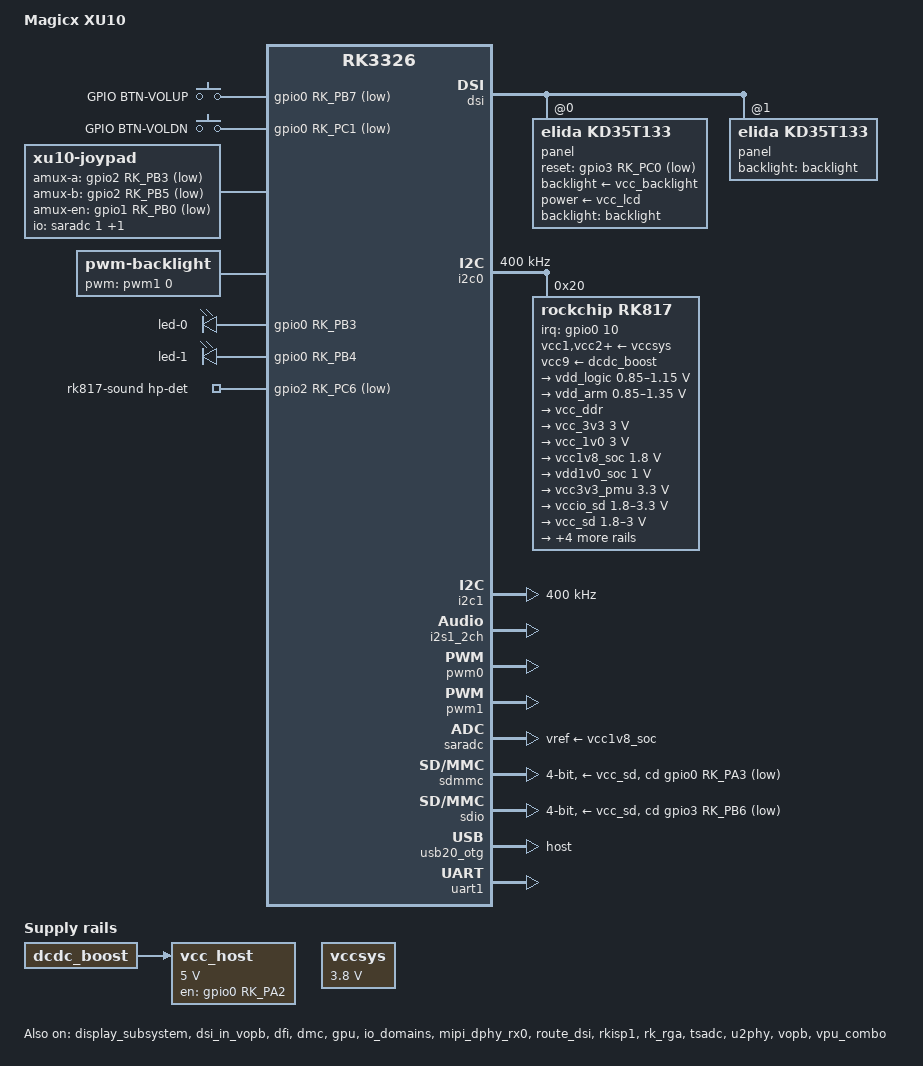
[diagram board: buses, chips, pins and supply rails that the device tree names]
// SPDX-License-Identifier: (GPL-2.0+ OR MIT)
/*
 * Copyright (c) 2021 Anbernic
 *
 * PowKiddy Magicx XU10
 *
 */

/dts-v1/;
#include <dt-bindings/display/drm_mipi_dsi.h>
#include <dt-bindings/gpio/gpio.h>
#include <dt-bindings/input/input.h>
#include <dt-bindings/pinctrl/rockchip.h>
#include <dt-bindings/sensor-dev.h>
#include "rk3326.dtsi"
#include "rk3326-linux.dtsi"

/ {
	model = "Magicx XU10";
	compatible = "rockchip,rk3326-xu10-linux", "rockchip,rk3326";

	chosen {
                bootargs = "";
	};

	vol_keys: rg351-keys {
		compatible = "gpio-keys";
		#address-cells = <1>;
		#size-cells = <0>;
		autorepeat;
		button@0 {
			label = "GPIO BTN-VOLUP";
			linux,code = <KEY_VOLUMEUP>;
			gpios = <&gpio0 RK_PB7 GPIO_ACTIVE_LOW>;
		};
		button@1 {
			label = "GPIO BTN-VOLDN";
			linux,code = <KEY_VOLUMEDOWN>;
			gpios = <&gpio0 RK_PC1 GPIO_ACTIVE_LOW>;
		};
	};

	joypad: odroidgo3-joypad {
                compatible = "xu10-joypad";

                joypad-name = "GO-Super Gamepad";
                joypad-product = <0x1100>;
                joypad-revision = <0x0100>;

		status = "okay";
                /*
                  - odroidgo3-joypad sysfs list -
		   * for poll device interval(ms)
		   /sys/devices/platform/odroidgo3_joypad/poll_interval [rw]
		   ex) echo 20 > poll_interval
                   * for button-adc-fuzz
		   /sys/devices/platform/odroidgo3_joypad/adc_fuzz [r]
                   * for button-adc-flat
		   /sys/devices/platform/odroidgo3_joypad/adc_flat [r]

		   * for report control(1:enable, 0:disable)
		   /sys/devices/platform/odroidgo3_joypad/enable [rw]
		   * for adc calibration value setup(current adcs value -> cal value)
		   /sys/devices/platform/odroidgo3_joypad/adc_cal [rw]
		   ex) echo 0 > adc_cal

		   * for rumble period(ns)
		   /sys/devices/platform/odroidgo3_joypad/rumble_period
		   ex) echo 20000000 > rumble_duty_cycle
		   ex) cat rumble_duty_cycle -->get current duty cycle

		   * for rumble boost(0~65535)
		   /sys/devices/platform/odroidgo3_joypad/rumble_boost_weak
		   /sys/devices/platform/odroidgo3_joypad/rumble_boost_strong

		   * for amux data debug
		   * Joypad driver is disabled when using this sysfs.
		   /sys/devices/platform/odroidgo3_joypad/amux_debug [rw]
		   ex) echo 0 > amux_debug --> select amux channel
		   ex) cat amux_debug --> get adc data of seleted channel
                */

		/* gpio pincontrol setup */
                pinctrl-names = "default";
                pinctrl-0 = <&btn_pins>;

		/* Analog mux define */
		io-channel-names = "joy_left", "joy_right";
		io-channels = <&saradc 1>, <&saradc 2>;

		/* adc mux channel count */
		amux-count = <4>;
		/* adc mux select(a,b) gpio */
		amux-a-gpios = <&gpio2 RK_PB3 GPIO_ACTIVE_LOW>;
		amux-b-gpios = <&gpio2 RK_PB5 GPIO_ACTIVE_LOW>;
		/* adc mux enable gpio */
		amux-en-gpios = <&gpio1 RK_PB0 GPIO_ACTIVE_LOW>;

		/* adc calculate scale */
		button-adc-scale = <2>;

		/* adc deadzone range  */
		button-adc-deadzone = <100>;

		/*
		  specifies fuzz value that is used to filter noise from
		  the event stream.
		*/
		button-adc-fuzz = <32>;
		button-adc-flat = <32>;

		/*
		  Analog Stick data tuning value(precent)
		  p = positive direction, n = negative direction
		  report value = (real_adc_data * tuning_value) / 100
		*/
		abs_x-p-tuning = <200>;
		abs_x-n-tuning = <200>;

		abs_y-p-tuning = <200>;
		abs_y-n-tuning = <200>;

		abs_rx-p-tuning = <200>;
		abs_rx-n-tuning = <200>;

		abs_ry-p-tuning = <200>;
		abs_ry-n-tuning = <200>;

		/* poll device interval (ms), adc read interval */
		poll-interval = <10>;

		/* required for RG351MP */
		invert-absx;
		invert-absy;

		/* gpio button auto repeat set value : default disable */
		/*
			autorepeat;
		*/

		/*
		      *** ODROIDGO3-Advance Switch layoout ***
		|------------------------------------------------|
		| sw15  sw21        sw10   sw9        sw20  sw16 |
		|------------------------------------------------|
		|      sw19                            sw22      |
		|              |-------------------|             |
		|     sw1      |                   |      sw8    |
		|  sw3   sw4   |                   |   sw7   sw5 |
		|     sw2      |    LCD Display    |      sw6    |
		|              |                   |             |
		|              |                   |             |
		|              |-------------------|             |
		|  sw11 sw12        | sd-slot |       sw13 sw14  |
		|-------------------|         |------------------|
		*/
                /*
                    joypad driver is poll-device driver.
                    poll-device is does not support wakeup-source.
		*/
                sw1 {
                        gpios = <&gpio1 RK_PB4 GPIO_ACTIVE_LOW>;
                        label = "GPIO DPAD-UP";
                        linux,code = <BTN_DPAD_UP>; // 0x220
                };
                sw2 {
                        gpios = <&gpio1 RK_PB5 GPIO_ACTIVE_LOW>;
                        label = "GPIO DPAD-DOWN";
                        linux,code = <BTN_DPAD_DOWN>; // 0x221
                };
                sw3 {
                        gpios = <&gpio1 RK_PB6 GPIO_ACTIVE_LOW>;
                        label = "GPIO DPAD-LEFT";
                        linux,code = <BTN_DPAD_LEFT>; // 0x222
                };
                sw4 {
                        gpios = <&gpio1 RK_PB7 GPIO_ACTIVE_LOW>;
                        label = "GPIO DPAD-RIGHT";
                        linux,code = <BTN_DPAD_RIGHT>; // 0x223
                };
                sw5 {
                        gpios = <&gpio2 RK_PA1 GPIO_ACTIVE_LOW>;
                        label = "GPIO KEY BTN-A";
                        linux,code = <BTN_EAST>; // 0x131
                };
                sw6 {
                        gpios = <&gpio2 RK_PA3 GPIO_ACTIVE_LOW>;
                        label = "GPIO BTN-B";
                        linux,code = <BTN_SOUTH>; // 0x130
                };
                sw7 {
                        gpios = <&gpio2 RK_PA2 GPIO_ACTIVE_LOW>;
                        label = "GPIO BTN-Y";
                        linux,code = <BTN_WEST>; // 0x134
                };
                sw8 {
                        gpios = <&gpio2 RK_PA0 GPIO_ACTIVE_LOW>;
                        label = "GPIO BTN-X";
                        linux,code = <BTN_NORTH>; // 0x133
                };
                sw11 {
                        gpios = <&gpio2 RK_PB1 GPIO_ACTIVE_LOW>;
                        label = "BTN_THUMBR";
                        linux,code = <BTN_TRIGGER_HAPPY3>; // 0x2c2
                };
                sw12 {
                        gpios = <&gpio2 RK_PB2 GPIO_ACTIVE_LOW>;
                        label = "BTN_THUMBL";
                        linux,code = <BTN_TRIGGER_HAPPY4>; // 0x2c3
                };
                sw13 {
                        gpios = <&gpio2 RK_PA4 GPIO_ACTIVE_LOW>;
                        label = "PIO BTN_F";
                        linux,code = <BTN_TRIGGER_HAPPY5>; // 0x2c4
                };
                /*sw14 {
                        gpios = <&gpio2 RK_PA5 GPIO_ACTIVE_LOW>;
                        label = "GPIO F6";
                        linux,code = <BTN_TRIGGER_HAPPY6>; // 0x13c
                };*/
                sw15 {
                        gpios = <&gpio2 RK_PA6 GPIO_ACTIVE_LOW>;
                        label = "GPIO TOP-LEFT";
                        linux,code = <BTN_TL>; // 0x02
                };
                sw16 {
                        gpios = <&gpio2 RK_PA7 GPIO_ACTIVE_LOW>;
                        label = "GPIO TOP-RIGHT";
                        linux,code = <BTN_TR>; // 0x05
                };
                sw19 {
                        gpios = <&gpio2 RK_PB0 GPIO_ACTIVE_LOW>;
                        label = "BTN_SELECT";
                        linux,code = <BTN_TRIGGER_HAPPY1>;
                };
                sw20 {
                        gpios = <&gpio3 RK_PB4 GPIO_ACTIVE_LOW>;
                        label = "GPIO BTN_TR2";
                        linux,code = <BTN_TR2>;
                };
                sw21 {
                        gpios = <&gpio3 RK_PB2 GPIO_ACTIVE_LOW>;
                        label = "GPIO BTN_TL2";
                        linux,code = <BTN_TL2>;
                };
                sw22 {
                        gpios = <&gpio2 RK_PA5 GPIO_ACTIVE_LOW>;
                        label = "BTN_START";
                        linux,code = <BTN_TRIGGER_HAPPY2>;
                };
        };

	fiq-debugger {
		compatible = "rockchip,fiq-debugger";
		rockchip,serial-id = <2>;
		rockchip,wake-irq = <0>;
		/* If enable uart uses irq instead of fiq */
		rockchip,irq-mode-enable = <0>;
		rockchip,baudrate = <115200>;  /* Only 115200 and 1500000 */
		interrupts = <GIC_SPI 127 IRQ_TYPE_LEVEL_LOW>;
		pinctrl-names = "default";
		pinctrl-0 = <&uart2m1_xfer>;
		status = "okay";
	};

	backlight: backlight {
		compatible = "pwm-backlight";
		pwms = <&pwm1 0 62745 0>;
		brightness-levels = <
			  2   3   4   5   6   7
			  8   9  10  11  12  13  14  15
			 16  17  18  19  20  21  22  23
			 24  25  26  27  28  29  30  31
			 32  33  34  35  36  37  38  39
			 40  41  42  43  44  45  46  47
			 48  49  50  51  52  53  54  55
			 56  57  58  59  60  61  62  63
			 64  65  66  67  68  69  70  71
			 72  73  74  75  76  77  78  79
			 80  81  82  83  84  85  86  87
			 88  89  90  91  92  93  94  95
			 96  97  98  99 100 101 102 >;
		default-brightness-level = <51>; /* default 50% */
	};

	leds: gpio_leds {
		compatible = "gpio-leds";

		pinctrl-names = "led_pins";
		pinctrl-0 = <&led_pins>;

		led-0 {
			gpios = <&gpio0 RK_PB3 GPIO_ACTIVE_HIGH>;
			default-state = "off";
	        };

	        led-1 {
			gpios = <&gpio0 RK_PB4 GPIO_ACTIVE_HIGH>;
			default-state = "off";
	        };
	};

	rk817-sound {
		compatible = "simple-audio-card";
		simple-audio-card,format = "i2s";
		simple-audio-card,name = "rockchip,rk817-codec";
		simple-audio-card,mclk-fs = <256>;
		simple-audio-card,widgets =
			"Microphone", "Mic Jack",
			"Headphone", "Headphone Jack";
		simple-audio-card,routing =
			"MIC_IN", "Mic Jack",
			/*"IN1P", "Mic Jack",*/
			"Headphone Jack", "HPOL",
			"Headphone Jack", "HPOR";
		simple-audio-card,hp-det-gpio = <&gpio2 RK_PC6 GPIO_ACTIVE_LOW>;
		simple-audio-card,codec-hp-det = <1>;
		simple-audio-card,cpu {
			sound-dai = <&i2s1_2ch>;
		};
		simple-audio-card,codec {
			sound-dai = <&rk817_codec>;
		};
	};

	vccsys: vccsys {
		compatible = "regulator-fixed";
		regulator-name = "vcc3v8_sys";
		regulator-always-on;
		regulator-min-microvolt = <3800000>;
		regulator-max-microvolt = <3800000>;
	};

	vcc_host: vcc_host {
		compatible = "regulator-fixed";
		regulator-name = "vcc_host";
		regulator-min-microvolt = <5000000>;
		regulator-max-microvolt = <5000000>;

		gpio = <&gpio0 RK_PA2 GPIO_ACTIVE_HIGH>;
		enable-active-high;
		regulator-always-on;
		regulator-boot-on;
		vin-supply = <&dcdc_boost>;
	};
};

&bus_apll {
	bus-supply = <&vdd_logic>;
	status = "okay";
};

&cpu0 {
	cpu-supply = <&vdd_arm>;
};

&cpu0_opp_table {
	rockchip,avs = <1>;

	/* bin scaling clock 1.296MHz */
	rockchip,bin-scaling-sel = <
		0	10
		1	13
		2	16
		3	20
	>;

	/delete-node/ opp-408000000;
	/delete-node/ opp-600000000;
	/delete-node/ opp-696000000;
	/delete-node/ opp-1416000000;
	/delete-node/ opp-1512000000;

	opp-816000000 {
		opp-hz = /bits/ 64 <816000000>;
		opp-microvolt = <1050000 1050000 1350000>;
		opp-microvolt-L0 = <1050000 1050000 1350000>;
		opp-microvolt-L1 = <1000000 1000000 1350000>;
		opp-microvolt-L2 = <1000000 1000000 1350000>;
		opp-microvolt-L3 = <950000  950000  1350000>;
		clock-latency-ns = <40000>;
		opp-suspend;
	};

	opp-912000000 {
		opp-hz = /bits/ 64 <912000000>;
		opp-microvolt = <1125000 1125000 1350000>;
		opp-microvolt-L0 = <1125000 1125000 1350000>;
		opp-microvolt-L1 = <1075000 1075000 1350000>;
		opp-microvolt-L2 = <1075000 1075000 1350000>;
		opp-microvolt-L3 = <1000000 1000000 1350000>;
		clock-latency-ns = <40000>;
	};

	opp-1008000000 {
		opp-hz = /bits/ 64 <1008000000>;
		opp-microvolt = <1175000 1175000 1350000>;
		opp-microvolt-L0 = <1175000 1175000 1350000>;
		opp-microvolt-L1 = <1125000 1125000 1350000>;
		opp-microvolt-L2 = <1125000 1125000 1350000>;
		opp-microvolt-L3 = <1050000 1050000 1350000>;
		clock-latency-ns = <40000>;
	};

	opp-1200000000 {
		opp-hz = /bits/ 64 <1200000000>;
		opp-microvolt = <1300000 1300000 1350000>;
		opp-microvolt-L0 = <1300000 1300000 1350000>;
		opp-microvolt-L1 = <1275000 1275000 1350000>;
		opp-microvolt-L2 = <1250000 1250000 1350000>;
		opp-microvolt-L3 = <1200000 1200000 1350000>;
		clock-latency-ns = <40000>;
	};

	opp-1248000000 {
		opp-hz = /bits/ 64 <1248000000>;
		opp-microvolt = <1350000 1350000 1350000>;
		opp-microvolt-L0 = <1350000 1350000 1350000>;
		opp-microvolt-L1 = <1300000 1300000 1350000>;
		opp-microvolt-L2 = <1275000 1275000 1350000>;
		opp-microvolt-L3 = <1225000 1225000 1350000>;
		clock-latency-ns = <40000>;
	};

	opp-1296000000 {
		opp-hz = /bits/ 64 <1296000000>;
		opp-microvolt = <1350000 1350000 1350000>;
		opp-microvolt-L0 = <1350000 1350000 1350000>;
		opp-microvolt-L1 = <1350000 1350000 1350000>;
		opp-microvolt-L2 = <1300000 1300000 1350000>;
		opp-microvolt-L3 = <1250000 1250000 1350000>;
		clock-latency-ns = <40000>;
	};

	opp-1416000000 {
		opp-hz = /bits/ 64 <1416000000>;
		opp-microvolt     = <1350000 1350000 1350000>;
		opp-microvolt-L0  = <1350000 1350000 1350000>;
		opp-microvolt-L1  = <1350000 1350000 1350000>;
		opp-microvolt-L2  = <1325000 1325000 1350000>;
		opp-microvolt-L3  = <1300000 1300000 1350000>;
		opp-microvolt-L4  = <1250000 1250000 1350000>;
		clock-latency-ns = <40000>;
	};

	opp-1512000000 {
		opp-hz = /bits/ 64 <1512000000>;
		opp-microvolt     = <1350000 1350000 1350000>;
		opp-microvolt-L0  = <1350000 1350000 1350000>;
		opp-microvolt-L1  = <1350000 1350000 1350000>;
		opp-microvolt-L2  = <1350000 1350000 1350000>;
		opp-microvolt-L3  = <1325000 1325000 1350000>;
		opp-microvolt-L4  = <1300000 1300000 1350000>;
		clock-latency-ns = <40000>;
	};
};


&display_subsystem {
	status = "okay";
};

&dsi {
	status = "okay";

	panel@0 {
		compatible = "elida,kd35t133", "simple-panel-dsi";
		reg = <0>;
		id = [30 52];

		/* pwm1 backlight */
		backlight = <&backlight>;
		/* RK817 LDO7 */
		backlight-supply = <&vcc_backlight>;
		/* RK817 LDO8 */
		power-supply = <&vcc_lcd>;

		/* Rev 0.2 LCD reset gpio GPIO3.C0 */
		reset-gpios = <&gpio3 RK_PC0 GPIO_ACTIVE_LOW>;

			prepare-delay-ms = <0x14>;
			reset-delay-ms = <0x96>;
			init-delay-ms = <0x14>;
			enable-delay-ms = <0x78>;
			disable-delay-ms = <0x32>;
			unprepare-delay-ms = <0x14>;
			width-mm = <0x34>;
			height-mm = <0x46>;
			dsi,flags = <0xa03>;
			dsi,format = <0x00>;
			dsi,lanes = <0x04>;
			panel-init-sequence = [15 00 02 ff 30 15 00 02 ff 52 15 00 02 ff 01 15 00 02 e3 00 15 00 02 03 40 15 00 02 04 00 15 00 02 05 03 15 00 02 24 12 15 00 02 25 1e 15 00 02 26 28 15 00 02 27 52 15 00 02 28 57 15 00 02 29 01 15 00 02 2a df 15 00 02 38 9c 15 00 02 39 a7 15 00 02 3a 53 15 00 02 44 00 15 00 02 49 3c 15 00 02 59 fe 15 00 02 5c 00 15 00 02 91 77 15 00 02 92 77 15 00 02 a0 55 15 00 02 a1 50 15 00 02 a4 9c 15 00 02 a7 02 15 00 02 a8 01 15 00 02 a9 01 15 00 02 aa fc 15 00 02 ab 28 15 00 02 ac 06 15 00 02 ad 06 15 00 02 ae 06 15 00 02 af 03 15 00 02 b0 08 15 00 02 b1 26 15 00 02 b2 28 15 00 02 b3 28 15 00 02 b4 33 15 00 02 b5 08 15 00 02 b6 26 15 00 02 b7 08 15 00 02 b8 26 15 00 02 ff 30 15 00 02 ff 52 15 00 02 ff 02 15 00 02 b0 0b 15 00 02 b1 16 15 00 02 b2 17 15 00 02 b3 2c 15 00 02 b4 32 15 00 02 b5 3b 15 00 02 b6 29 15 00 02 b7 40 15 00 02 b8 0d 15 00 02 b9 05 15 00 02 ba 12 15 00 02 bb 10 15 00 02 bc 12 15 00 02 bd 15 15 00 02 be 19 15 00 02 bf 0e 15 00 02 c0 16 15 00 02 c1 0a 15 00 02 d0 0c 15 00 02 d1 17 15 00 02 d2 14 15 00 02 d3 2e 15 00 02 d4 32 15 00 02 d5 3c 15 00 02 d6 22 15 00 02 d7 3d 15 00 02 d8 0d 15 00 02 d9 07 15 00 02 da 13 15 00 02 db 13 15 00 02 dc 11 15 00 02 dd 15 15 00 02 de 19 15 00 02 df 10 15 00 02 e0 17 15 00 02 e1 0a 15 00 02 ff 30 15 00 02 ff 52 15 00 02 ff 03 15 00 02 00 2a 15 00 02 01 2a 15 00 02 02 2a 15 00 02 03 2a 15 00 02 04 61 15 00 02 05 80 15 00 02 06 c7 15 00 02 07 01 15 00 02 08 82 15 00 02 09 83 15 00 02 30 2a 15 00 02 31 2a 15 00 02 32 2a 15 00 02 33 2a 15 00 02 34 61 15 00 02 35 c5 15 00 02 36 80 15 00 02 37 23 15 00 02 40 82 15 00 02 41 83 15 00 02 42 80 15 00 02 43 81 15 00 02 44 11 15 00 02 45 e6 15 00 02 46 e5 15 00 02 47 11 15 00 02 48 e8 15 00 02 49 e7 15 00 02 50 02 15 00 02 51 01 15 00 02 52 04 15 00 02 53 03 15 00 02 54 11 15 00 02 55 ea 15 00 02 56 e9 15 00 02 57 11 15 00 02 58 ec 15 00 02 59 eb 15 00 02 7e 02 15 00 02 7f 80 15 00 02 e0 5a 15 00 02 b1 00 15 00 02 b4 0e 15 00 02 b5 0f 15 00 02 b6 04 15 00 02 b7 07 15 00 02 b8 06 15 00 02 b9 05 15 00 02 ba 0f 15 00 02 c7 00 15 00 02 ca 0e 15 00 02 cb 0f 15 00 02 cc 04 15 00 02 cd 07 15 00 02 ce 06 15 00 02 cf 05 15 00 02 d0 0f 15 00 02 81 0f 15 00 02 84 0e 15 00 02 85 0f 15 00 02 86 07 15 00 02 87 04 15 00 02 88 05 15 00 02 89 06 15 00 02 8a 00 15 00 02 97 0f 15 00 02 9a 0e 15 00 02 9b 0f 15 00 02 9c 07 15 00 02 9d 04 15 00 02 9e 05 15 00 02 9f 06 15 00 02 a0 00 15 00 02 ff 30 15 00 02 ff 52 15 00 02 ff 02 15 00 02 01 01 15 00 02 02 da 15 00 02 03 ba 15 00 02 04 a8 15 00 02 05 9a 15 00 02 06 70 15 00 02 07 ff 15 00 02 08 91 15 00 02 09 90 15 00 02 0a ff 15 00 02 0b 8f 15 00 02 0c 60 15 00 02 0d 58 15 00 02 0e 48 15 00 02 0f 38 15 00 02 10 2b 15 00 02 ff 30 15 00 02 ff 52 15 00 02 ff 00 15 00 02 36 02 15 00 02 3a 70 05 c8 01 11 05 0a 01 29];
			panel-exit-sequence = <0x5140128 0x50a0110>;
			panel-read-id-sequence = [05 00 02 00 00];
		display-timings {
			native-mode = <&timing0>;

			timing0: timing0 {
					clock-frequency = <0x192d500>;
					hactive = <0x280>;
					vactive = <0x1e0>;
					hfront-porch = <0x77>;
					hsync-len = <0x02>;
					hback-porch = <0x77>;
					vfront-porch = <0x0d>;
					vsync-len = <0x02>;
					vback-porch = <0x05>;
					hsync-active = <0x00>;
					vsync-active = <0x00>;
					de-active = <0x00>;
					pixelclk-active = <0x00>;
			};
		};
	};

	panel@1 {
		status = "okay";
		compatible = "elida,kd35t133", "simple-panel-dsi";
		/* don't register this panel */
		//reg = <0>;
		id = [38 21];
		backlight = <&backlight>;
		//power-supply = <&vcc_lcd>;
		//gpio = <&gpio0 RK_PC2 GPIO_ACTIVE_HIGH>;
		//reset-gpios = <&gpio0 RK_PA6 GPIO_ACTIVE_LOW>;
			prepare-delay-ms = <0x14>;
			reset-delay-ms = <0x96>;
			init-delay-ms = <0x14>;
			enable-delay-ms = <0x78>;
			disable-delay-ms = <0x32>;
			unprepare-delay-ms = <0x14>;
			dsi,flags = <0xa03>;
			dsi,format = <0x00>;
			dsi,lanes = <0x04>;
			panel-init-sequence = [39 00 04 b9 f1 12 83 39 00 06 b1 00 00 00 da 80 39 00 04 b2 00 13 70 39 00 0b b3 10 10 28 28 03 ff 00 00 00 00 15 00 02 b4 80 15 00 03 b5 0a 0a 15 00 03 b6 7f 7f 39 00 05 b8 26 62 f0 63 39 00 1c ba 33 81 05 f9 0e 0e 20 00 00 00 00 00 00 00 44 25 00 90 0a 00 00 01 4f 01 00 00 37 15 00 02 bc 47 39 00 04 bf 02 11 00 39 00 0a c0 73 73 50 50 00 00 12 50 00 39 00 0d c1 53 c0 32 32 77 e1 dd dd 77 77 33 33 39 00 07 c6 82 00 bf ff 00 ff 39 00 07 c7 b8 00 0a 00 00 00 39 00 05 c8 10 40 1e 02 15 00 02 cc 0b 39 00 23 e0 00 07 0d 37 35 3f 41 44 06 0c 0d 0f 11 10 12 14 1a 00 07 0d 37 35 3f 41 44 06 0c 0d 0f 11 10 12 14 1a 39 00 0f e3 07 07 0b 0b 0b 0b 00 00 00 00 ff 00 c0 10 39 00 40 e9 c8 10 02 00 00 b0 b1 11 31 23 28 80 b0 b1 27 08 00 04 02 00 00 00 00 04 02 00 00 00 88 88 ba 60 24 08 88 88 88 88 88 88 88 ba 71 35 18 88 88 88 88 88 00 00 00 01 00 00 00 00 00 00 00 00 00 39 00 3e ea 97 0a 82 02 03 07 00 00 00 00 00 00 81 88 ba 17 53 88 88 88 88 88 88 80 88 ba 06 42 88 88 88 88 88 88 23 00 00 02 80 00 00 00 00 00 00 00 00 00 00 00 00 00 00 00 00 00 00 00 00 00 00 39 00 04 ef ff ff 01 05 c8 01 11 05 32 01 29];
			panel-exit-sequence = <0x5140128 0x50a0110>;
			panel-read-id-sequence = [05 00 02 00 00];

		display-timings {
			native-mode = <&timing1>;
			timing1: timing1 {
					clock-frequency = <0x192d500>;
					hactive = <0x280>;
					vactive = <0x1e0>;
					hfront-porch = <0x77>;
					hsync-len = <0x02>;
					hback-porch = <0x77>;
					vfront-porch = <0x0d>;
					vsync-len = <0x02>;
					vback-porch = <0x05>;
					hsync-active = <0x00>;
					vsync-active = <0x00>;
					de-active = <0x00>;
					pixelclk-active = <0x00>;
			};
		};
	};
};

&dsi_in_vopb {
	status = "okay";
};

&dfi {
	status = "okay";
};

&dmc {
	center-supply = <&vdd_logic>;
	status = "okay";
};

&dmc_opp_table {
	/delete-node/ opp-194000000;
	/delete-node/ opp-328000000;
	/delete-node/ opp-450000000;

	opp-786000000 {
		opp-hz = /bits/ 64 <786000000>;
		opp-microvolt = <1150000>;
		opp-microvolt-L0 = <1150000>;
		opp-microvolt-L1 = <1100000>;
		opp-microvolt-L2 = <1075000>;
		opp-microvolt-L3 = <1050000>;
		status = "okay";
	};

	opp-850000000 {
		opp-hz = /bits/ 64 <850000000>;
		opp-microvolt = <1150000>;
		status = "okay";
	};
};

&emmc {
	status = "disabled";
};

&gpu {
	mali-supply = <&vdd_logic>;
	status = "okay";
};

&gpu_opp_table {
	/delete-node/ opp-200000000;
	/delete-node/ opp-300000000;
	/delete-node/ opp-520000000;

        opp-560000000 {
                 opp-hz = /bits/ 64 <560000000>;
                 opp-microvolt = <1175000>;
                 opp-microvolt-L0 = <1175000>;
                 opp-microvolt-L1 = <1175000>;
                 opp-microvolt-L2 = <1175000>;
                 opp-microvolt-L3 = <1150000>;
         };
};

&i2c0 {
	status = "okay";
	clock-frequency = <400000>;
	i2c-scl-rising-time-ns = <280>;
	i2c-scl-falling-time-ns = <16>;

	rk817: pmic@20 {
		compatible = "rockchip,rk817";
		reg = <0x20>;
		interrupt-parent = <&gpio0>;
		interrupts = <10 IRQ_TYPE_LEVEL_LOW>;
		pinctrl-names = "default", "pmic-sleep",
				"pmic-power-off", "pmic-reset";
		pinctrl-0 = <&pmic_int>;
		pinctrl-1 = <&soc_slppin_slp>, <&rk817_slppin_slp>;
		pinctrl-2 = <&soc_slppin_gpio>, <&rk817_slppin_pwrdn>;
		pinctrl-3 = <&soc_slppin_rst>, <&rk817_slppin_rst>;
		rockchip,system-power-controller;
		wakeup-source;
		#clock-cells = <1>;
		clock-output-names = "rk808-clkout1", "rk808-clkout2";
		//fb-inner-reg-idxs = <2>;

		/* 1: rst regs (default in codes), 0: rst the pmic */
		pmic-reset-func = <1>;

		vcc1-supply = <&vccsys>;
		vcc2-supply = <&vccsys>;
		vcc3-supply = <&vccsys>;
		vcc4-supply = <&vccsys>;
		vcc5-supply = <&vccsys>;
		vcc6-supply = <&vccsys>;
		vcc7-supply = <&vccsys>;
		vcc8-supply = <&vccsys>;
		vcc9-supply = <&dcdc_boost>;

		pwrkey {
			status = "okay";
		};

		pinctrl_rk8xx: pinctrl_rk8xx {
			gpio-controller;
			#gpio-cells = <2>;

			rk817_ts_gpio1: rk817_ts_gpio1 {
				pins = "gpio_ts";
				function = "pin_fun1";
				/* output-low; */
				/* input-enable; */
			};

			rk817_gt_gpio2: rk817_gt_gpio2 {
				pins = "gpio_gt";
				function = "pin_fun1";
			};

			rk817_pin_ts: rk817_pin_ts {
				pins = "gpio_ts";
				function = "pin_fun0";
			};

			rk817_pin_gt: rk817_pin_gt {
				pins = "gpio_gt";
				function = "pin_fun0";
			};

			rk817_slppin_null: rk817_slppin_null {
				pins = "gpio_slp";
				function = "pin_fun0";
			};

			rk817_slppin_slp: rk817_slppin_slp {
				pins = "gpio_slp";
				function = "pin_fun1";
			};

			rk817_slppin_pwrdn: rk817_slppin_pwrdn {
				pins = "gpio_slp";
				function = "pin_fun2";
			};

			rk817_slppin_rst: rk817_slppin_rst {
				pins = "gpio_slp";
				function = "pin_fun3";
			};
		};

		regulators {
			vdd_logic: DCDC_REG1 {
				regulator-always-on;
				regulator-boot-on;
				regulator-min-microvolt = <850000>;
				regulator-max-microvolt = <1150000>;
				regulator-ramp-delay = <6001>;
				regulator-initial-mode = <0x2>;
				regulator-name = "vdd_logic";
				regulator-state-mem {
					regulator-on-in-suspend;
					regulator-suspend-microvolt = <950000>;
				};
			};

			vdd_arm: DCDC_REG2 {
				regulator-always-on;
				regulator-boot-on;
				regulator-min-microvolt = <850000>;
				regulator-max-microvolt = <1350000>;
				regulator-ramp-delay = <6001>;
				regulator-initial-mode = <0x2>;
				regulator-name = "vdd_arm";
				regulator-state-mem {
					regulator-off-in-suspend;
					regulator-suspend-microvolt = <950000>;
				};
			};

			vcc_ddr: DCDC_REG3 {
				regulator-always-on;
				regulator-boot-on;
				regulator-initial-mode = <0x2>;
				regulator-name = "vcc_ddr";
				regulator-state-mem {
					regulator-on-in-suspend;
				};
			};

			vcc_3v3: DCDC_REG4 {
				regulator-always-on;
				regulator-boot-on;
				regulator-min-microvolt = <3000000>;
				regulator-max-microvolt = <3000000>;
				regulator-initial-mode = <0x2>;
				regulator-name = "vcc_3v3";
				regulator-state-mem {
					regulator-off-in-suspend;
					regulator-suspend-microvolt = <3000000>;
				};
			};

			/* Not Used */
			vcc_1v0: LDO_REG1 {
				regulator-always-on;
				regulator-boot-on;
				regulator-min-microvolt = <3000000>;
				regulator-max-microvolt = <3000000>;
				regulator-name = "vcc_1v0";
				regulator-state-mem {
					regulator-on-in-suspend;
					regulator-suspend-microvolt = <3000000>;
				};
			};

			vcc1v8_soc: LDO_REG2 {
				regulator-always-on;
				regulator-boot-on;
				regulator-min-microvolt = <1800000>;
				regulator-max-microvolt = <1800000>;

				regulator-name = "vcc1v8_soc";
				regulator-state-mem {
					regulator-on-in-suspend;
					regulator-suspend-microvolt = <1800000>;
				};
			};

			vdd1v0_soc: LDO_REG3 {
				regulator-always-on;
				regulator-boot-on;
				regulator-min-microvolt = <1000000>;
				regulator-max-microvolt = <1000000>;

				regulator-name = "vcc1v0_soc";
				regulator-state-mem {
					regulator-on-in-suspend;
					regulator-suspend-microvolt = <1000000>;
				};
			};

			vcc3v3_pmu: LDO_REG4 {
				regulator-always-on;
				regulator-boot-on;
				regulator-min-microvolt = <3300000>;
				regulator-max-microvolt = <3300000>;

				regulator-name = "vcc3v3_pmu";
				regulator-state-mem {
					regulator-on-in-suspend;
					regulator-suspend-microvolt = <3300000>;

				};
			};

			vccio_sd: LDO_REG5 {
				regulator-always-on;
				regulator-boot-on;
				regulator-min-microvolt = <1800000>;
				regulator-max-microvolt = <3300000>;

				regulator-name = "vccio_sd";
				regulator-state-mem {
					regulator-on-in-suspend;
					regulator-suspend-microvolt = <3300000>;
				};
			};

			vcc_sd: LDO_REG6 {
				regulator-min-microvolt = <1800000>;
				regulator-max-microvolt = <3000000>;
				regulator-boot-on;

				regulator-name = "vcc_sd";
				regulator-state-mem {
					regulator-on-in-suspend;
					regulator-suspend-microvolt = <3000000>;

				};
			};

			/* Rev 0.2 LCD Backlight Power */
			vcc_backlight: LDO_REG7 {
				regulator-min-microvolt = <2800000>;
				regulator-max-microvolt = <2800000>;
				regulator-name = "vcc_backlight";
				regulator-state-mem {
					regulator-off-in-suspend;
					regulator-suspend-microvolt = <2800000>;
				};
			};

			/* Rev 0.2 LCD IO Power */
			vcc_lcd: LDO_REG8 {
				regulator-min-microvolt = <1800000>;
				regulator-max-microvolt = <1800000>;
				regulator-name = "vcc_lcd";
				regulator-state-mem {
					regulator-off-in-suspend;
					regulator-suspend-microvolt = <1800000>;
				};
			};

			/* Rev 1.1 WIFI Power */
			vcc_wifi: LDO_REG9 {
				regulator-always-on;
				regulator-boot-on;
				regulator-min-microvolt = <3300000>;
				regulator-max-microvolt = <3300000>;

				regulator-name = "vcc_wifi";
				regulator-state-mem {
					regulator-off-in-suspend;
					regulator-suspend-microvolt = <3300000>;
				};
			};

			dcdc_boost: BOOST {
				regulator-always-on;
				regulator-boot-on;
				regulator-min-microvolt = <4700000>;
				regulator-max-microvolt = <5400000>;
				regulator-name = "boost";
			};

		};

		battery {
			compatible = "rk817,battery";
			ocv_table = <3165 3220 3280 3330 3380 3430 3480
			3530 3580 3630 3670 3710 3750 3790
			3830 3870 3910 3950 3990 3995 4000>;


			/* KPL605475 Battery Spec */
			/*
				Capacity : 3.7V 3000mA
				Normal Voltage = 3.7V
				Cut-Off Voltage : 3.1V
				Internal Impedance : 180 mOhm
				Charging Voltage : 4.2V
				Charging Voltage Max : 4.25V
				Sample resister : 10 mohm
			*/
			design_capacity = <2800>;
			design_qmax = <3000>;
			bat_res = <100>;
			sleep_enter_current = <300>;
			sleep_exit_current = <300>;
			sleep_filter_current = <100>;
			power_off_thresd = <3300>;
			zero_algorithm_vol = <3850>;
			max_soc_offset = <60>;
			monitor_sec = <5>;
			virtual_power = <0>;
			sample_res = <10>;
			power_dc2otg = <0>;
		};

		charger {
			compatible = "rk817,charger";
			min_input_voltage = <4500>;
			max_input_current = <1500>;
			max_chrg_current = <2000>;
			max_chrg_voltage = <4200>;
			chrg_term_mode = <0>;
			chrg_finish_cur = <52>;
			virtual_power = <0>;
			sample_res = <10>;


			/* P.C.B rev0.2 DC Detect & Charger Status LED GPIO */
			dc_det_gpio  = <&gpio0 RK_PB3 GPIO_ACTIVE_HIGH>;
			bat_low_gpio = <&gpio2 RK_PB5 GPIO_ACTIVE_HIGH>;

			extcon = <&u2phy>;
		};

		rk817_codec: codec {
			#sound-dai-cells = <0>;
			compatible = "rockchip,rk817-codec";
			clocks = <&cru SCLK_I2S1_OUT>;
			clock-names = "mclk";
			pinctrl-names = "default";
			pinctrl-0 = <&i2s1_2ch_mclk>;
			hp-volume = <20>;
			spk-volume = <3>;
			status = "okay";
		};
	};
};

/* EXT Header(P2) : 7(SCL:GPIO0.C2), 8(SDA:GPIO0.C3) */
&i2c1 {
	status = "okay";
	clock-frequency = <400000>;
};

/* MIPI CSI I2C */
&i2c2 {
	status = "disabled";
};

/* I2S 1 Channel Used */
&i2s1_2ch {
	status = "okay";
	#sound-dai-cells = <0>;
};

&io_domains {
	/* GRF Register Voltage select control */
	status = "okay";

	/* SDIO I/O Voltage */
	vccio1-supply = <&vcc1v8_soc>;
	/* SDMMC I/O Voltage */
	vccio2-supply = <&vccio_sd>;
	/* CAM I/O Voltage */
	vccio3-supply = <&vcc_1v0>;
	/* LVDS/LCDC I/O Voltage */
	vccio4-supply = <&vcc_3v3>;
	/* I2S I/O Voltage */
	vccio5-supply = <&vcc_3v3>;
	/* eMMC I/O Voltage */
	vccio6-supply = <&vcc_3v3>;
};

&isp_mmu {
	status = "okay";
};

&mipi_dphy_rx0 {
	status = "okay";
};

&pmu_io_domains {
	/* PMU GRF Register Voltage select control */
	status = "okay";

	/* PMU I/O Voltage */
	pmuio1-supply = <&vcc3v3_pmu>;
	/* GPIO0_B/GPIO0_C, Flash */
	pmuio2-supply = <&vcc3v3_pmu>;
};

/* RG351MP Motor PWM */
&pwm0 {
	status = "okay";
};

/* LCD Backlight PWM */
&pwm1 {
	status = "okay";
};

&route_dsi {
	connect = <&vopb_out_dsi>;
	status = "okay";
};

&rkisp1 {
	status = "okay";
};

&rk_rga {
	status = "okay";
};

&rockchip_suspend {
	status = "okay";
	rockchip,sleep-debug-en = <1>;
};

&sfc {
	status = "disabled";
};

&spi0 {
	status = "disabled";
};

&saradc {
	status = "okay";
	vref-supply = <&vcc1v8_soc>;
};

&sdmmc {
	bus-width = <4>;
	cap-mmc-highspeed;
	cap-sd-highspeed;
	supports-sd;
	card-detect-delay = <800>;
	ignore-pm-notify;
	cd-gpios = <&gpio0 RK_PA3 GPIO_ACTIVE_LOW>; /*[> CD GPIO <]*/
	sd-uhs-sdr12;
	sd-uhs-sdr25;
	sd-uhs-sdr50;
	sd-uhs-sdr104;
	vqmmc-supply = <&vccio_sd>;
	vmmc-supply = <&vcc_sd>;
	status = "okay";
};

&sdio {
	bus-width = <4>;
	cap-mmc-highspeed;
	cap-sd-highspeed;
	supports-sd;
	card-detect-delay = <800>;
	ignore-pm-notify;
	cd-gpios = <&gpio3 RK_PB6 GPIO_ACTIVE_LOW>; /*[> CD GPIO <]*/
	sd-uhs-sdr12;
	sd-uhs-sdr25;
	sd-uhs-sdr50;
	sd-uhs-sdr104;
	vqmmc-supply = <&vccio_sd>;
	vmmc-supply = <&vcc_sd>;
	status = "okay";
};

&tsadc {
	pinctrl-names = "gpio", "otpout";
	pinctrl-0 = <&tsadc_otp_gpio>;
	pinctrl-1 = <&tsadc_otp_out>;
	status = "okay";
};

&u2phy {
	status = "okay";

	u2phy_host: host-port {
		status = "okay";
	};

	u2phy_otg: otg-port {
		status = "disabled";
	};
};

&usb20_otg {
	status = "okay";
	dr_mode = "host";
};

/*
	EXT Header(P2) UART :
	2(RXD:GPIO1.C0),3(TXD:GPIO1.C1),4(CTS:GPIO1.C2),5(RTS:GPIO1.C3)
*/
&uart1 {
	pinctrl-names = "default";
	pinctrl-0 = <&uart1_xfer &uart1_cts>;
	status = "okay";
};

&vip_mmu {
	status = "okay";
};

&vopb {
	status = "okay";
};

&vopb_mmu {
	status = "okay";
};

&vpu_combo {
	status = "okay";
};

&pinctrl {

	pmic {
		/* ODROID-GO2 : PMIC_INT(GPIO0.PB2) */
		pmic_int: pmic_int {
			rockchip,pins =
				<0 RK_PB2 RK_FUNC_GPIO &pcfg_pull_up>,
				<0 RK_PB3 RK_FUNC_GPIO &pcfg_pull_none>;
		};

		/* ODROID-GO2 : PMIC_SLEEP(GPIO0.PA4) */
		soc_slppin_gpio: soc_slppin_gpio {
			rockchip,pins =
				<0 RK_PA4 RK_FUNC_GPIO &pcfg_output_low>;
		};

		soc_slppin_slp: soc_slppin_slp {
			rockchip,pins =
				<0 RK_PA4 RK_FUNC_1 &pcfg_pull_none>;
		};

		soc_slppin_rst: soc_slppin_rst {
			rockchip,pins =
				<0 RK_PA4 RK_FUNC_2 &pcfg_pull_none>;
		};
	};

	leds {
		led_pins: led-pins {
			rockchip,pins = <0 RK_PB3 RK_FUNC_GPIO &pcfg_pull_none>,
					<0 RK_PB4 RK_FUNC_GPIO &pcfg_pull_none>;
		};
	};

	btns {
		btn_pins: btn-pins {
			rockchip,pins = <0 RK_PC1 RK_FUNC_GPIO &pcfg_pull_up>,
					<0 RK_PB7 RK_FUNC_GPIO &pcfg_pull_up>,
					<1 RK_PB4 RK_FUNC_GPIO &pcfg_pull_up>,
					<1 RK_PB5 RK_FUNC_GPIO &pcfg_pull_up>,
					<1 RK_PB6 RK_FUNC_GPIO &pcfg_pull_up>,
					<1 RK_PB7 RK_FUNC_GPIO &pcfg_pull_up>,
					<2 RK_PA0 RK_FUNC_GPIO &pcfg_pull_up>,
					<2 RK_PA1 RK_FUNC_GPIO &pcfg_pull_up>,
					<2 RK_PA2 RK_FUNC_GPIO &pcfg_pull_up>,
					<2 RK_PA3 RK_FUNC_GPIO &pcfg_pull_up>,
					<2 RK_PA4 RK_FUNC_GPIO &pcfg_pull_up>,
					<2 RK_PA5 RK_FUNC_GPIO &pcfg_pull_up>,
					<2 RK_PA6 RK_FUNC_GPIO &pcfg_pull_up>,
					<2 RK_PA7 RK_FUNC_GPIO &pcfg_pull_up>,
					<2 RK_PB0 RK_FUNC_GPIO &pcfg_pull_up>,
					<2 RK_PB1 RK_FUNC_GPIO &pcfg_pull_up>,
					<2 RK_PB2 RK_FUNC_GPIO &pcfg_pull_up>,
					<3 RK_PB2 RK_FUNC_GPIO &pcfg_pull_up>,
					<3 RK_PB4 RK_FUNC_GPIO &pcfg_pull_up>;
		};
	};
};

/* DON'T PUT ANYTHING BELOW HERE.  PUT IT ABOVE PINCTRL */

